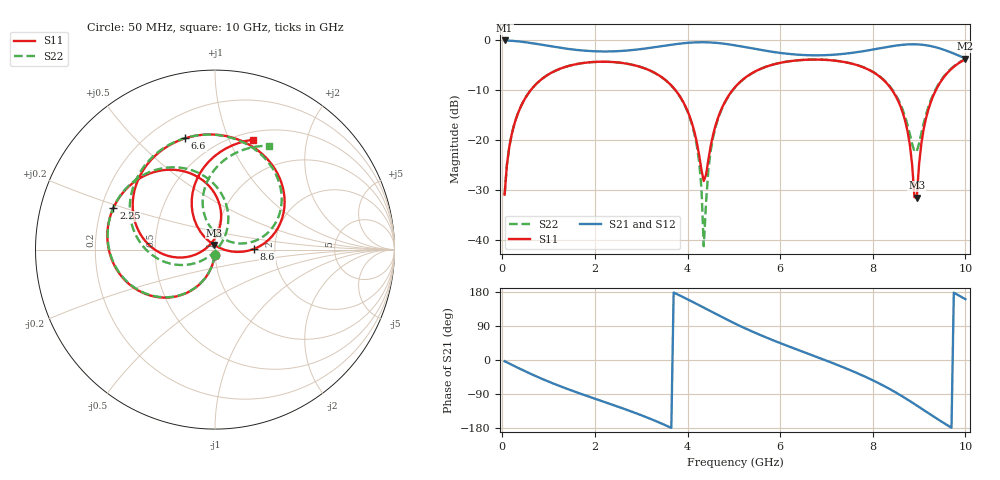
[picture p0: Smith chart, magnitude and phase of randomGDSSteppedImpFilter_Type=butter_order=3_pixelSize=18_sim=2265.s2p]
! freq	dB(S11)	phase(S11)	dB(S12)	phase(S12)
!  dB(S21)	phase(S21)	dB(S22)	phase(S22)
!S-par simulation data
#  GHz  S  DB  R 50
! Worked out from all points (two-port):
!   200 points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, 50 MHz to 10 GHz, reference 50 ohm
!   highest |S21| = -0.01 dB at 50 MHz (marker M1); lowest = -3.6 dB at 10 GHz (marker M2)
!   |S21| within 3 dB of the highest: start of sweep to 9.85 GHz
!   lowest |S11| = -31.4 dB at 8.95 GHz (marker M3), VSWR 1.05, Z = 49.4 + j2.6 ohm
!   |S11| at or under -10 dB: start of sweep to 610.2 MHz; 3.743 GHz to 4.969 GHz (1.225 GHz wide, 28.1 % of centre); 8.421 GHz to 9.36 GHz (939.2 MHz wide, 10.6 % of centre)
!   |S22| runs from -41.2 to -3.7 dB; largest |S21 - S12| = 0
!   S11 on the Smith chart (normalised r, x): 50 MHz: 1.00, -0.06; 2.25 GHz: 0.25, +0.18; 6.6 GHz: 0.34, +0.71; 8.6 GHz: 1.56, +0.01; 10 GHz: 0.58, +1.23
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0.05  -30.83 -93.2  -0.01 -3.1  -0.01 -3.1  -30.83 -93.2
0.2  -18.94 -102.8  -0.08 -12.3  -0.08 -12.3  -18.94 -102.9
0.5  -11.48 -120.5  -0.36 -30.1  -0.36 -30.1  -11.48 -120.8
1.75  -4.51 178.5  -2.03 -91.5  -2.03 -91.5  -4.51 177.5
2.25  -4.27 157.8  -2.21 -112.7  -2.21 -112.7  -4.27 156.2
3.4  -7.08 107.3  -1.21 -165.5  -1.21 -165.5  -7.10 102.9
4.1  -16.68 78.0  -0.42 154.0  -0.42 154.0  -16.94 60.6
4.25  -22.90 86.4  -0.36 144.5  -0.36 144.5  -24.30 47.6
4.35  -28.12 130.4  -0.36 138.1  -0.36 138.1  -41.15 -5.9
4.45  -23.84 -176.7  -0.38 131.7  -0.38 131.7  -25.83 -131.4
4.55  -18.94 -165.6  -0.44 125.4  -0.44 125.4  -19.50 -141.6
5.05  -9.10 178.2  -1.02 94.6  -1.02 94.6  -9.15 -174.7
5.75  -5.09 143.7  -2.17 56.9  -2.17 56.9  -5.10 147.5
6.6  -3.85 105.1  -2.96 16.7  -2.96 16.7  -3.84 107.7
6.7  -3.83 100.7  -2.98 12.1  -2.98 12.1  -3.82 103.2
7.65  -4.91 55.8  -2.36 -33.9  -2.36 -33.9  -4.89 58.5
8.35  -9.10 16.3  -1.25 -75.5  -1.25 -75.5  -8.97 22.3
8.6  -13.22 1.0  -0.92 -93.1  -0.92 -93.1  -12.81 12.2
8.95  -31.45 100.7  -0.78 -120.0  -0.78 -120.0  -22.21 70.4
9.05  -20.57 129.8  -0.84 -128.1  -0.84 -128.1  -18.51 99.6
9.25  -12.41 121.4  -1.13 -144.2  -1.13 -144.2  -12.01 105.7
10  -3.77 71.0  -3.62 160.7  -3.62 160.7  -3.71 62.5
